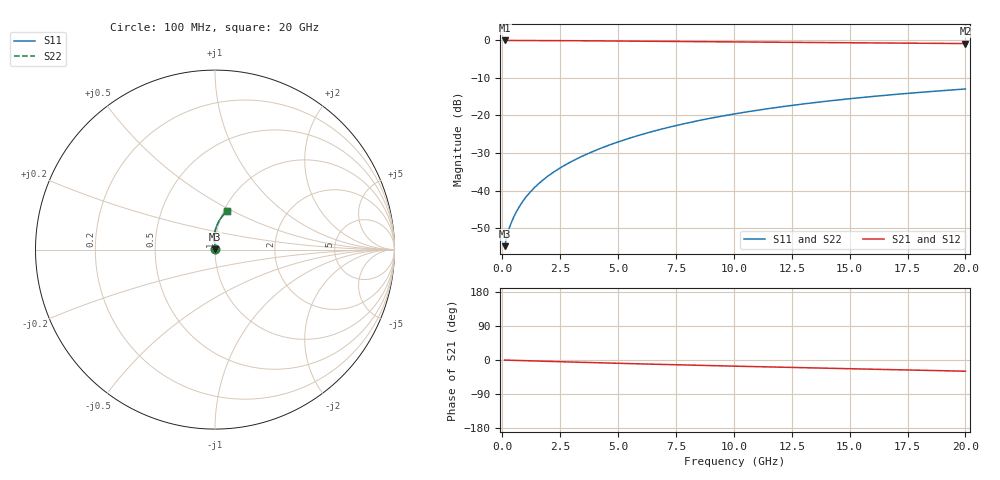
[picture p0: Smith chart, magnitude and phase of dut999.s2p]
! Touchstone file exported from HFSS 2024.1.0
!  File:  C:/UserFiles/LocalFiles/RDL_TSV_Batchsim/temp_RDL_top_999_1779939966.aedt
!  Generated:  11:48:06 AM May 28, 2026
!  Design:  RDL_top
!  Project:  temp_RDL_top_999_1779939966
!  Setup:  Setup1
!  Solution:  Sweep
! Variables:
!  dtsv = 10.80580581um
!  hbump = 3um
!  htsv = 90.75um
!  ldown = 100um
!  lrdl = 445.41um
!  p = 40
!  p1 = 49.22um
!  rhole = 1um
!  t = 450um
!  tdown = 3.915915916um
!  trdl = 4.18um
!  wdown = 15.38538539um
!  wrdl = 29um
# GHz S MA R 50.000000
! Terminal data exported
! Port[1] = Box2_T1
! Port[2] = Box2_T2
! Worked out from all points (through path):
!   200 points, 100 MHz to 20 GHz, reference 50 ohm
!   highest |S21| = -0.01 dB at 100 MHz (marker M1); lowest = -0.8 dB at 20 GHz (marker M2)
!   group delay of S21, straight-line fit = 4.04 ps
!   lowest |S11| = -54.8 dB at 100 MHz (marker M3), VSWR 1.00, Z = 50.2 + j0.096 ohm
!   |S11| at or under -10 dB: start of sweep to end of sweep
!   |S22| runs from -54.8 to -12.9 dB; largest |S21 - S12| = 4.3e-15
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0.1  0.001813 31.8  0.9984 -0.2  0.9984 -0.2  0.001813 31.8
! Gamma 0 0 0 0
! Port Impedance 50 0 50 0
0.2  0.002465 47.4  0.9983 -0.4  0.9983 -0.4  0.002465 47.4
0.3  0.00314 55.6  0.9981 -0.6  0.9981 -0.6  0.00314 55.6
0.4  0.003806 61.2  0.998 -0.7  0.998 -0.7  0.003806 61.2
0.5  0.004475 65.5  0.9978 -0.9  0.9978 -0.9  0.004476 65.5
0.6  0.005156 68.9  0.9977 -1.1  0.9977 -1.1  0.005156 68.9
0.8  0.006555 74.0  0.9974 -1.5  0.9974 -1.5  0.006555 74.0
1  0.008003 77.7  0.9971 -1.8  0.9971 -1.8  0.008003 77.7
1.2  0.00949 80.5  0.9967 -2.2  0.9967 -2.2  0.00949 80.5
1.7  0.01336 85.3  0.9956 -3.1  0.9956 -3.1  0.01336 85.3
2.2  0.01744 88.3  0.9941 -4.0  0.9941 -4.0  0.01744 88.3
2.8  0.02263 90.8  0.9919 -5.0  0.9919 -5.0  0.02263 90.8
3.5  0.02909 92.7  0.9889 -6.2  0.9889 -6.2  0.02909 92.7
4.2  0.03599 93.8  0.9856 -7.4  0.9856 -7.4  0.03599 93.8
5  0.04439 94.3  0.9814 -8.7  0.9814 -8.7  0.04439 94.3
6.8  0.0649 93.8  0.9715 -11.5  0.9715 -11.5  0.0649 93.8
8.4  0.08441 92.0  0.9628 -13.9  0.9628 -13.9  0.08441 92.0
10.1  0.1058 89.4  0.9538 -16.3  0.9538 -16.3  0.1058 89.4
11.7  0.126 86.7  0.9458 -18.6  0.9458 -18.6  0.126 86.8
13.4  0.1473 83.8  0.9377 -20.9  0.9377 -20.9  0.1473 83.8
16.7  0.1874 78.1  0.9226 -25.3  0.9226 -25.3  0.1874 78.1
20  0.2252 72.6  0.9081 -29.6  0.9081 -29.6  0.2252 72.6
